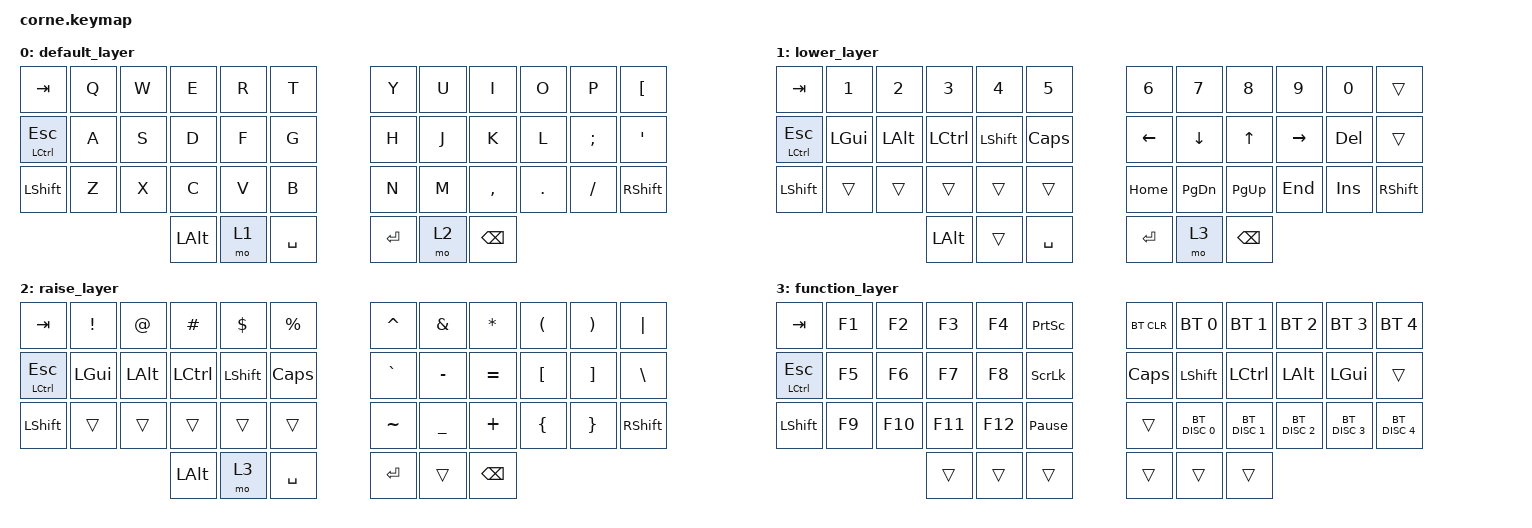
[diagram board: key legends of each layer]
/*
 * Copyright (c) 2020 The ZMK Contributors
 *
 * SPDX-License-Identifier: MIT
 */

#include <behaviors.dtsi>
#include <dt-bindings/zmk/bt.h>
#include <dt-bindings/zmk/keys.h>

/ {
    keymap {
        compatible = "zmk,keymap";

        default_layer {
            bindings = <
&kp TAB        &kp Q  &kp W  &kp E     &kp R  &kp T        &kp Y    &kp U  &kp I          &kp O    &kp P     &kp LEFT_BRACKET
&mt LCTRL ESC  &kp A  &kp S  &kp D     &kp F  &kp G        &kp H    &kp J  &kp K          &kp L    &kp SEMI  &kp SQT
&kp LSHFT      &kp Z  &kp X  &kp C     &kp V  &kp B        &kp N    &kp M  &kp COMMA      &kp DOT  &kp FSLH  &kp RIGHT_SHIFT
                             &kp LALT  &mo 1  &kp SPACE    &kp RET  &mo 2  &kp BACKSPACE
            >;
        };

        lower_layer {
            bindings = <
&kp TAB        &kp N1    &kp N2    &kp N3     &kp N4     &kp N5       &kp N6    &kp N7     &kp N8         &kp N9     &kp N0   &trans
&mt LCTRL ESC  &kp LGUI  &kp LALT  &kp LCTRL  &kp LSHFT  &kp CAPS     &kp LEFT  &kp DOWN   &kp UP         &kp RIGHT  &kp DEL  &trans
&kp LSHFT      &trans    &trans    &trans     &trans     &trans       &kp HOME  &kp PG_DN  &kp PG_UP      &kp END    &kp INS  &kp RIGHT_SHIFT
                                   &kp LALT   &trans     &kp SPACE    &kp RET   &mo 3      &kp BACKSPACE
            >;
        };

        raise_layer {
            bindings = <
&kp TAB        &kp EXCL  &kp AT    &kp HASH   &kp DLLR    &kp PRCNT    &kp CARET  &kp AMPS   &kp ASTRK      &kp LPAR        &kp RPAR         &kp PIPE
&mt LCTRL ESC  &kp LGUI  &kp LALT  &kp LCTRL  &kp LSHIFT  &kp CAPS     &kp GRAVE  &kp MINUS  &kp EQUAL      &kp LBKT        &kp RBKT         &kp BSLH
&kp LSHFT      &trans    &trans    &trans     &trans      &trans       &kp TILDE  &kp UNDER  &kp PLUS       &kp LEFT_BRACE  &kp RIGHT_BRACE  &kp RIGHT_SHIFT
                                   &kp LALT   &mo 3       &kp SPACE    &kp RET    &trans     &kp BACKSPACE
            >;
        };

        function_layer {
            bindings = <
&kp TAB        &kp F1  &kp F2   &kp F3   &kp F4   &kp PRINTSCREEN    &bt BT_CLR  &bt BT_SEL 0   &bt BT_SEL 1   &bt BT_SEL 2   &bt BT_SEL 3   &bt BT_SEL 4
&mt LCTRL ESC  &kp F5  &kp F6   &kp F7   &kp F8   &kp SCROLLLOCK     &kp CAPS    &kp LSHFT      &kp LCTRL      &kp LALT       &kp LGUI       &trans
&kp LSHFT      &kp F9  &kp F10  &kp F11  &kp F12  &kp PAUSE_BREAK    &trans      &bt BT_DISC 0  &bt BT_DISC 1  &bt BT_DISC 2  &bt BT_DISC 3  &bt BT_DISC 4
                                &trans   &trans   &trans             &trans      &trans         &trans
            >;
        };
    };
};
